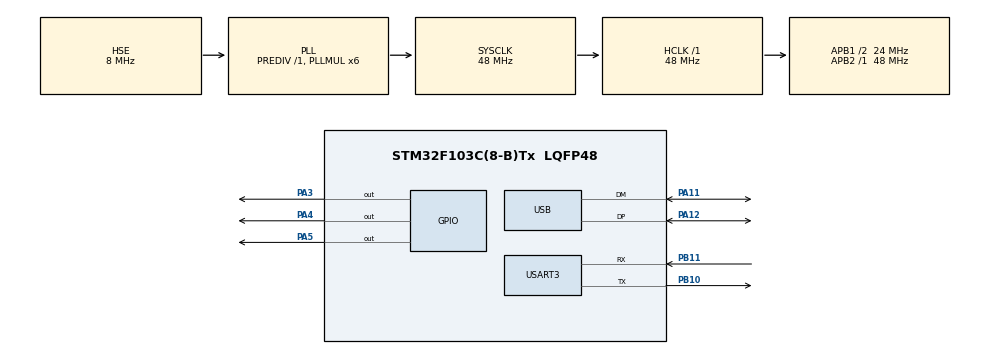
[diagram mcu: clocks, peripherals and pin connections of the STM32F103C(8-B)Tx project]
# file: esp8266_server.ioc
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Dma.Request0=USART3_RX
Dma.USART3_RX.0.Direction=DMA_PERIPH_TO_MEMORY
Dma.USART3_RX.0.Instance=DMA1_Channel3
Dma.USART3_RX.0.MemDataAlignment=DMA_MDATAALIGN_BYTE
Dma.USART3_RX.0.MemInc=DMA_MINC_ENABLE
Dma.USART3_RX.0.Mode=DMA_NORMAL
Dma.USART3_RX.0.PeriphDataAlignment=DMA_PDATAALIGN_BYTE
Dma.USART3_RX.0.PeriphInc=DMA_PINC_DISABLE
Dma.USART3_RX.0.Priority=DMA_PRIORITY_LOW
Mcu.Family=STM32F1
Mcu.Name=STM32F103C(8-B)Tx
Mcu.Package=LQFP48
NVIC.DMA1_Channel3_IRQn=true\:0\:0\:false\:false\:true\:false\:true\:true
NVIC.PriorityGroup=NVIC_PRIORITYGROUP_4
NVIC.USART3_IRQn=true\:0\:0\:false\:false\:true\:true\:true\:true
NVIC.USB_LP_CAN1_RX0_IRQn=true\:0\:0\:false\:false\:true\:false\:true\:true
PA11.Mode=Device
PA11.Signal=USB_DM
PA12.Mode=Device
PA12.Signal=USB_DP
PA13.Mode=Serial_Wire
PA13.Signal=SYS_JTMS-SWDIO
PA14.Mode=Serial_Wire
PA14.Signal=SYS_JTCK-SWCLK
PA3.Signal=GPIO_Output
PA4.Signal=GPIO_Output
PA5.Signal=GPIO_Output
PB10.Mode=Asynchronous
PB10.Signal=USART3_TX
PB11.Mode=Asynchronous
PB11.Signal=USART3_RX
PD0-OSC_IN.Mode=HSE-External-Oscillator
PD0-OSC_IN.Signal=RCC_OSC_IN
PD1-OSC_OUT.Mode=HSE-External-Oscillator
PD1-OSC_OUT.Signal=RCC_OSC_OUT
ProjectManager.HeapSize=0x200
ProjectManager.StackSize=0x400
ProjectManager.TargetToolchain=STM32CubeIDE
RCC.AHBFreq_Value=48000000
RCC.APB1CLKDivider=RCC_HCLK_DIV2
RCC.APB1Freq_Value=24000000
RCC.APB1TimFreq_Value=48000000
RCC.APB2Freq_Value=48000000
RCC.APB2TimFreq_Value=48000000
RCC.HCLKFreq_Value=48000000
RCC.PLLMUL=RCC_PLL_MUL6
RCC.SYSCLKFreq_VALUE=48000000
RCC.SYSCLKSource=RCC_SYSCLKSOURCE_PLLCLK
RCC.USBFreq_Value=48000000
USART3.VirtualMode=VM_ASYNC
USB_DEVICE.CLASS_NAME_FS=CDC
USB_DEVICE.VirtualMode=Cdc
USB_DEVICE.VirtualModeFS=Cdc_FS
VP_USB_DEVICE_VS_USB_DEVICE_CDC_FS.Mode=CDC_FS
board=custom

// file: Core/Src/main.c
/* USER CODE BEGIN Header */
/**
  ******************************************************************************
  * @file           : main.c
  * @brief          : Main program body
  ******************************************************************************
  * @attention
  *
  * Copyright (c) 2023 STMicroelectronics.
  * All rights reserved.
  *
  * This software is licensed under terms that can be found in the LICENSE file
  * in the root directory of this software component.
  * If no LICENSE file comes with this software, it is provided AS-IS.
  *
  ******************************************************************************
  */
/* USER CODE END Header */
#include "main.h"
#include "usb_device.h"

/* USER CODE BEGIN Includes */
#include "../../user_lib/esp8266.h"
/* USER CODE END Includes */

/* USER CODE BEGIN PV */

uint8_t esp_buf[512];

/* USER CODE END PV */

void SystemClock_Config(void);
static void MX_GPIO_Init(void);
static void MX_DMA_Init(void);
static void MX_USART3_UART_Init(void);

/* USER CODE BEGIN 0 */
extern uint8_t CDC_Transmit_FS(uint8_t* Buf, uint16_t Len);

int _write(int32_t file, uint8_t *ptr, int32_t len) {
//	while(CDC_Transmit_FS( (uint8_t*)ptr, (uint16_t)len) == USBD_BUSY);
	CDC_Transmit_FS( (uint8_t*)ptr, (uint16_t)len);
  return len;
}

/**
 * USB CDC 연결을 초기화 한다.
 * MX_USB_DEVICE_Init 위에 선언해야한다.
 */
void CDC_RESET() {

	// 초기화를 위해 출력모드로 변경
	LL_GPIO_InitTypeDef GPIO_InitStruct = {0};
	LL_GPIO_ResetOutputPin(GPIOA, LL_GPIO_PIN_12);

	GPIO_InitStruct.Pin = LL_GPIO_PIN_12;
	GPIO_InitStruct.Mode = LL_GPIO_MODE_OUTPUT;
	GPIO_InitStruct.Speed = LL_GPIO_SPEED_FREQ_LOW;
	GPIO_InitStruct.OutputType = LL_GPIO_OUTPUT_OPENDRAIN;
	LL_GPIO_Init(GPIOA, &GPIO_InitStruct);

	// 초기화
	LL_GPIO_ResetOutputPin(GPIOA, LL_GPIO_PIN_12);
	HAL_Delay(400);
	LL_GPIO_SetOutputPin(GPIOA, LL_GPIO_PIN_12);

	//입력모드로 변경
	GPIO_InitStruct.Mode = LL_GPIO_MODE_INPUT;
	LL_GPIO_Init(GPIOA, &GPIO_InitStruct);
}

/* USER CODE END 0 */

int main(void)
{

  /* MCU Configuration--------------------------------------------------------*/

  /* Reset of all peripherals, Initializes the Flash interface and the Systick. */
  HAL_Init();

  /* Configure the system clock */
  SystemClock_Config();

  /* Initialize all configured peripherals */
  MX_GPIO_Init();
  MX_DMA_Init();
  MX_USART3_UART_Init();
  CDC_RESET();
  MX_USB_DEVICE_Init();
  /* USER CODE BEGIN 2 */
  esp8266_init(USART3, DMA1, LL_DMA_CHANNEL_3);

  esp_send("AT\r\n");
  wait_for("OK", 1000);

  server_init("SSID", "passward", 80);
  /* USER CODE END 2 */

  /* Infinite loop */
  /* USER CODE BEGIN WHILE */

  int IPD;
  char *path_ptr;
  char *body_ptr;
  HTTP_METHOD http_method;

  while (1)
  {
	  response(esp_buf, 100);
	  IPD = get_IPD(esp_buf);
	  if (IPD >= 0) {
		  http_method = get_method(esp_buf);
		  path_ptr = get_path_ptr(esp_buf);

		  if (http_method == HTTP_GET) {
			  Server_GET_Handle(path_ptr, IPD);
		  } else if (http_method == HTTP_PUT) {
			  body_ptr = get_body_ptr(esp_buf);
			  Server_PUT_Handle(path_ptr, body_ptr, IPD);
		  }else {
			  NOT_found(IPD);
		  }
	  }

    /* USER CODE END WHILE */

  }
}

void SystemClock_Config(void)
{
  RCC_OscInitTypeDef RCC_OscInitStruct = {0};
  RCC_ClkInitTypeDef RCC_ClkInitStruct = {0};
  RCC_PeriphCLKInitTypeDef PeriphClkInit = {0};

  /** Initializes the RCC Oscillators according to the specified parameters
  * in the RCC_OscInitTypeDef structure.
  */
  RCC_OscInitStruct.OscillatorType = RCC_OSCILLATORTYPE_HSE;
  RCC_OscInitStruct.HSEState = RCC_HSE_ON;
  RCC_OscInitStruct.HSEPredivValue = RCC_HSE_PREDIV_DIV1;
  RCC_OscInitStruct.HSIState = RCC_HSI_ON;
  RCC_OscInitStruct.PLL.PLLState = RCC_PLL_ON;
  RCC_OscInitStruct.PLL.PLLSource = RCC_PLLSOURCE_HSE;
  RCC_OscInitStruct.PLL.PLLMUL = RCC_PLL_MUL6;
  if (HAL_RCC_OscConfig(&RCC_OscInitStruct) != HAL_OK)
  {
    Error_Handler();
  }

  /** Initializes the CPU, AHB and APB buses clocks
  */
  RCC_ClkInitStruct.ClockType = RCC_CLOCKTYPE_HCLK|RCC_CLOCKTYPE_SYSCLK
                              |RCC_CLOCKTYPE_PCLK1|RCC_CLOCKTYPE_PCLK2;
  RCC_ClkInitStruct.SYSCLKSource = RCC_SYSCLKSOURCE_PLLCLK;
  RCC_ClkInitStruct.AHBCLKDivider = RCC_SYSCLK_DIV1;
  RCC_ClkInitStruct.APB1CLKDivider = RCC_HCLK_DIV2;
  RCC_ClkInitStruct.APB2CLKDivider = RCC_HCLK_DIV1;

  if (HAL_RCC_ClockConfig(&RCC_ClkInitStruct, FLASH_LATENCY_1) != HAL_OK)
  {
    Error_Handler();
  }
  PeriphClkInit.PeriphClockSelection = RCC_PERIPHCLK_USB;
  PeriphClkInit.UsbClockSelection = RCC_USBCLKSOURCE_PLL;
  if (HAL_RCCEx_PeriphCLKConfig(&PeriphClkInit) != HAL_OK)
  {
    Error_Handler();
  }
}

static void MX_USART3_UART_Init(void)
{

  LL_USART_InitTypeDef USART_InitStruct = {0};

  LL_GPIO_InitTypeDef GPIO_InitStruct = {0};

  /* Peripheral clock enable */
  LL_APB1_GRP1_EnableClock(LL_APB1_GRP1_PERIPH_USART3);

  LL_APB2_GRP1_EnableClock(LL_APB2_GRP1_PERIPH_GPIOB);
  /**USART3 GPIO Configuration
  PB10   ------> USART3_TX
  PB11   ------> USART3_RX
  */
  GPIO_InitStruct.Pin = LL_GPIO_PIN_10;
  GPIO_InitStruct.Mode = LL_GPIO_MODE_ALTERNATE;
  GPIO_InitStruct.Speed = LL_GPIO_SPEED_FREQ_HIGH;
  GPIO_InitStruct.OutputType = LL_GPIO_OUTPUT_PUSHPULL;
  LL_GPIO_Init(GPIOB, &GPIO_InitStruct);

  GPIO_InitStruct.Pin = LL_GPIO_PIN_11;
  GPIO_InitStruct.Mode = LL_GPIO_MODE_FLOATING;
  LL_GPIO_Init(GPIOB, &GPIO_InitStruct);

  /* USART3 DMA Init */

  /* USART3_RX Init */
  LL_DMA_SetDataTransferDirection(DMA1, LL_DMA_CHANNEL_3, LL_DMA_DIRECTION_PERIPH_TO_MEMORY);

  LL_DMA_SetChannelPriorityLevel(DMA1, LL_DMA_CHANNEL_3, LL_DMA_PRIORITY_LOW);

  LL_DMA_SetMode(DMA1, LL_DMA_CHANNEL_3, LL_DMA_MODE_NORMAL);

  LL_DMA_SetPeriphIncMode(DMA1, LL_DMA_CHANNEL_3, LL_DMA_PERIPH_NOINCREMENT);

  LL_DMA_SetMemoryIncMode(DMA1, LL_DMA_CHANNEL_3, LL_DMA_MEMORY_INCREMENT);

  LL_DMA_SetPeriphSize(DMA1, LL_DMA_CHANNEL_3, LL_DMA_PDATAALIGN_BYTE);

  LL_DMA_SetMemorySize(DMA1, LL_DMA_CHANNEL_3, LL_DMA_MDATAALIGN_BYTE);

  /* USART3 interrupt Init */
  NVIC_SetPriority(USART3_IRQn, NVIC_EncodePriority(NVIC_GetPriorityGrouping(),0, 0));
  NVIC_EnableIRQ(USART3_IRQn);

  USART_InitStruct.BaudRate = 115200;
  USART_InitStruct.DataWidth = LL_USART_DATAWIDTH_8B;
  USART_InitStruct.StopBits = LL_USART_STOPBITS_1;
  USART_InitStruct.Parity = LL_USART_PARITY_NONE;
  USART_InitStruct.TransferDirection = LL_USART_DIRECTION_TX_RX;
  USART_InitStruct.HardwareFlowControl = LL_USART_HWCONTROL_NONE;
  USART_InitStruct.OverSampling = LL_USART_OVERSAMPLING_16;
  LL_USART_Init(USART3, &USART_InitStruct);
  LL_USART_ConfigAsyncMode(USART3);
  LL_USART_Enable(USART3);

}

static void MX_DMA_Init(void)
{

  /* Init with LL driver */
  /* DMA controller clock enable */
  LL_AHB1_GRP1_EnableClock(LL_AHB1_GRP1_PERIPH_DMA1);

  /* DMA interrupt init */
  /* DMA1_Channel3_IRQn interrupt configuration */
  NVIC_SetPriority(DMA1_Channel3_IRQn, NVIC_EncodePriority(NVIC_GetPriorityGrouping(),0, 0));
  NVIC_EnableIRQ(DMA1_Channel3_IRQn);

}

static void MX_GPIO_Init(void)
{
  LL_GPIO_InitTypeDef GPIO_InitStruct = {0};

  /* GPIO Ports Clock Enable */
  LL_APB2_GRP1_EnableClock(LL_APB2_GRP1_PERIPH_GPIOD);
  LL_APB2_GRP1_EnableClock(LL_APB2_GRP1_PERIPH_GPIOA);
  LL_APB2_GRP1_EnableClock(LL_APB2_GRP1_PERIPH_GPIOB);

  /**/
  LL_GPIO_ResetOutputPin(GPIOA, LL_GPIO_PIN_3|LL_GPIO_PIN_4|LL_GPIO_PIN_5);

  /**/
  GPIO_InitStruct.Pin = LL_GPIO_PIN_3|LL_GPIO_PIN_4|LL_GPIO_PIN_5;
  GPIO_InitStruct.Mode = LL_GPIO_MODE_OUTPUT;
  GPIO_InitStruct.Speed = LL_GPIO_SPEED_FREQ_LOW;
  GPIO_InitStruct.OutputType = LL_GPIO_OUTPUT_PUSHPULL;
  LL_GPIO_Init(GPIOA, &GPIO_InitStruct);

}

void Error_Handler(void)
{
  __disable_irq();
  while (1)
  {
  }
}
